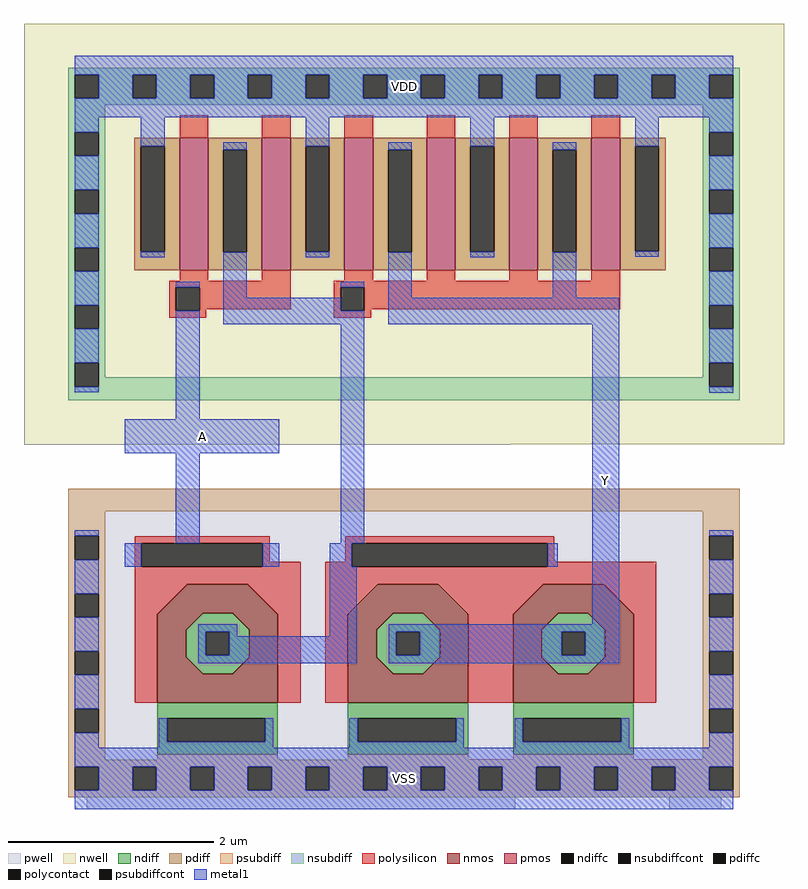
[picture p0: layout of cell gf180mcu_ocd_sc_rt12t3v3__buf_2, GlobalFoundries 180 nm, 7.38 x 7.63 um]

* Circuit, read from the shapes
.subckt gf180mcu_ocd_sc_rt12t3v3__buf_2 VDD VSS Y A
XM1 n1 A VSS VSS nfet_03v3 w=1.785u l=0.5364u
XM2 Y n1 VSS VSS nfet_03v3 w=1.785u l=0.5349u
XM3 Y n1 VSS VSS nfet_03v3 w=1.785u l=0.5308u
XM4 n1 A VDD VDD pfet_03v3 w=1.285u l=0.28u m=2
XM5 Y n1 VDD VDD pfet_03v3 w=1.285u l=0.28u m=4
.ends

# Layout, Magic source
magic
tech gf180mcuD
magscale 1 10
<< nwell >>
rect -122 649 1354 1466
rect -122 648 822 649
<< pwell >>
rect -36 -36 1268 563
rect 0 -60 832 -36
rect 1131 -60 1232 -36
<< nmos >>
tri 137 319 195 377 se
rect 195 321 313 377
rect 195 319 223 321
tri 223 319 225 321 nw
tri 283 319 285 321 ne
rect 285 319 313 321
tri 313 319 371 377 sw
rect 137 203 193 319
tri 193 289 223 319 nw
tri 285 289 315 319 ne
tri 193 203 225 235 sw
tri 283 203 315 235 se
rect 315 203 371 319
rect 137 147 371 203
tri 507 319 565 377 se
rect 565 321 683 377
rect 565 319 593 321
tri 593 319 595 321 nw
tri 653 319 655 321 ne
rect 655 319 683 321
tri 683 319 741 377 sw
rect 507 203 563 319
tri 563 289 593 319 nw
tri 655 289 685 319 ne
tri 563 203 595 235 sw
tri 653 203 685 235 se
rect 685 203 741 319
rect 507 147 741 203
tri 828 319 886 377 se
rect 886 321 1004 377
rect 886 319 914 321
tri 914 319 916 321 nw
tri 974 319 976 321 ne
rect 976 319 1004 321
tri 1004 319 1062 377 sw
rect 828 203 884 319
tri 884 289 914 319 nw
tri 976 289 1006 319 ne
tri 884 203 916 235 sw
tri 974 203 1006 235 se
rect 1006 203 1062 319
rect 828 147 1062 203
<< pmos >>
rect 180 987 236 1244
rect 340 987 396 1244
rect 500 987 556 1244
rect 660 987 716 1244
rect 820 987 876 1244
rect 980 987 1036 1244
<< ndiff >>
tri 223 319 225 321 se
rect 225 319 283 321
tri 283 319 285 321 sw
tri 193 289 223 319 se
rect 223 289 285 319
tri 285 289 315 319 sw
rect 193 285 315 289
rect 193 239 231 285
rect 277 239 315 285
rect 193 235 315 239
tri 193 203 225 235 ne
rect 225 203 283 235
tri 283 203 315 235 nw
tri 593 319 595 321 se
rect 595 319 653 321
tri 653 319 655 321 sw
tri 563 289 593 319 se
rect 593 289 655 319
tri 655 289 685 319 sw
rect 563 285 685 289
rect 563 239 601 285
rect 647 239 685 285
rect 563 235 685 239
tri 563 203 595 235 ne
rect 595 203 653 235
tri 653 203 685 235 nw
tri 914 319 916 321 se
rect 916 319 974 321
tri 974 319 976 321 sw
tri 884 289 914 319 se
rect 914 289 976 319
tri 976 289 1006 319 sw
rect 884 285 1006 289
rect 884 239 922 285
rect 968 239 1006 285
rect 884 235 1006 239
tri 884 203 916 235 ne
rect 916 203 974 235
tri 974 203 1006 235 nw
rect 137 117 371 147
rect 137 71 156 117
rect 347 71 371 117
rect 137 47 371 71
rect 507 117 741 147
rect 507 71 526 117
rect 717 71 741 117
rect 507 47 741 71
rect 828 117 1062 147
rect 828 71 847 117
rect 1038 71 1062 117
rect 828 47 1062 71
<< pdiff >>
rect 92 1228 180 1244
rect 92 1023 105 1228
rect 151 1023 180 1228
rect 92 987 180 1023
rect 236 1221 340 1244
rect 236 1022 265 1221
rect 311 1022 340 1221
rect 236 987 340 1022
rect 396 1228 500 1244
rect 396 1023 425 1228
rect 471 1023 500 1228
rect 396 987 500 1023
rect 556 1221 660 1244
rect 556 1022 585 1221
rect 631 1022 660 1221
rect 556 987 660 1022
rect 716 1228 820 1244
rect 716 1023 745 1228
rect 791 1023 820 1228
rect 716 987 820 1023
rect 876 1221 980 1244
rect 876 1022 905 1221
rect 951 1022 980 1221
rect 876 987 980 1022
rect 1036 1228 1124 1244
rect 1036 1024 1065 1228
rect 1111 1024 1124 1228
rect 1036 987 1124 1024
<< ndiffc >>
rect 231 239 277 285
rect 601 239 647 285
rect 922 239 968 285
rect 156 71 347 117
rect 526 71 717 117
rect 847 71 1038 117
<< pdiffc >>
rect 105 1023 151 1228
rect 265 1022 311 1221
rect 425 1023 471 1228
rect 585 1022 631 1221
rect 745 1023 791 1228
rect 905 1022 951 1221
rect 1065 1024 1111 1228
<< psubdiff >>
rect -36 519 1268 563
rect -36 471 36 519
rect -36 425 -23 471
rect 23 425 36 471
rect 1196 471 1268 519
rect -36 359 36 425
rect -36 313 -23 359
rect 23 313 36 359
rect -36 247 36 313
rect -36 201 -23 247
rect 23 201 36 247
rect -36 135 36 201
rect 1196 425 1209 471
rect 1255 425 1268 471
rect 1196 359 1268 425
rect 1196 313 1209 359
rect 1255 313 1268 359
rect 1196 247 1268 313
rect 1196 201 1209 247
rect 1255 201 1268 247
rect -36 89 -23 135
rect 23 89 36 135
rect -36 36 36 89
rect 137 36 371 47
rect 507 37 741 47
rect 828 37 1062 47
rect 1196 135 1268 201
rect 1196 89 1209 135
rect 1255 89 1268 135
rect 1196 37 1268 89
rect 507 36 1268 37
rect -36 23 1268 36
rect -36 -23 -23 23
rect 23 -23 89 23
rect 135 -23 201 23
rect 247 -23 313 23
rect 359 -23 425 23
rect 471 -23 537 23
rect 583 -23 649 23
rect 695 -23 761 23
rect 807 -23 873 23
rect 919 -23 985 23
rect 1031 -23 1097 23
rect 1143 -23 1209 23
rect 1255 -23 1268 23
rect -36 -36 1268 -23
<< nsubdiff >>
rect -36 1367 1268 1380
rect -36 1321 -23 1367
rect 23 1321 89 1367
rect 135 1321 201 1367
rect 247 1321 313 1367
rect 359 1321 425 1367
rect 471 1321 537 1367
rect 583 1321 649 1367
rect 695 1321 761 1367
rect 807 1321 873 1367
rect 919 1321 985 1367
rect 1031 1321 1097 1367
rect 1143 1321 1209 1367
rect 1255 1321 1268 1367
rect -36 1308 1268 1321
rect -36 1255 36 1308
rect -36 1209 -23 1255
rect 23 1209 36 1255
rect 1196 1255 1268 1308
rect -36 1143 36 1209
rect -36 1097 -23 1143
rect 23 1097 36 1143
rect -36 1031 36 1097
rect -36 985 -23 1031
rect 23 985 36 1031
rect 1196 1209 1209 1255
rect 1255 1209 1268 1255
rect 1196 1143 1268 1209
rect 1196 1097 1209 1143
rect 1255 1097 1268 1143
rect 1196 1031 1268 1097
rect -36 919 36 985
rect -36 873 -23 919
rect 23 873 36 919
rect 1196 985 1209 1031
rect 1255 985 1268 1031
rect 1196 919 1268 985
rect -36 807 36 873
rect -36 761 -23 807
rect 23 779 36 807
rect 1196 873 1209 919
rect 1255 873 1268 919
rect 1196 807 1268 873
rect 1196 779 1209 807
rect 23 761 1209 779
rect 1255 761 1268 807
rect -36 735 1268 761
<< psubdiffcont >>
rect -23 425 23 471
rect -23 313 23 359
rect -23 201 23 247
rect 1209 425 1255 471
rect 1209 313 1255 359
rect 1209 201 1255 247
rect -23 89 23 135
rect 1209 89 1255 135
rect -23 -23 23 23
rect 89 -23 135 23
rect 201 -23 247 23
rect 313 -23 359 23
rect 425 -23 471 23
rect 537 -23 583 23
rect 649 -23 695 23
rect 761 -23 807 23
rect 873 -23 919 23
rect 985 -23 1031 23
rect 1097 -23 1143 23
rect 1209 -23 1255 23
<< nsubdiffcont >>
rect -23 1321 23 1367
rect 89 1321 135 1367
rect 201 1321 247 1367
rect 313 1321 359 1367
rect 425 1321 471 1367
rect 537 1321 583 1367
rect 649 1321 695 1367
rect 761 1321 807 1367
rect 873 1321 919 1367
rect 985 1321 1031 1367
rect 1097 1321 1143 1367
rect 1209 1321 1255 1367
rect -23 1209 23 1255
rect -23 1097 23 1143
rect -23 985 23 1031
rect 1209 1209 1255 1255
rect 1209 1097 1255 1143
rect -23 873 23 919
rect 1209 985 1255 1031
rect -23 761 23 807
rect 1209 873 1255 919
rect 1209 761 1255 807
<< polysilicon >>
rect 180 1244 236 1288
rect 340 1244 396 1288
rect 500 1244 556 1288
rect 660 1244 716 1288
rect 820 1244 876 1288
rect 980 1244 1036 1288
rect 180 967 236 987
rect 340 967 396 987
rect 500 967 556 987
rect 660 967 716 987
rect 820 967 876 987
rect 980 967 1036 987
rect 160 954 396 967
rect 160 908 173 954
rect 219 911 396 954
rect 480 954 1036 967
rect 219 908 232 911
rect 160 895 232 908
rect 480 908 493 954
rect 539 911 1036 954
rect 539 908 552 911
rect 480 895 552 908
rect 93 457 355 470
rect 93 411 106 457
rect 342 421 355 457
rect 502 457 908 470
rect 502 421 515 457
rect 342 411 415 421
rect 93 377 415 411
rect 93 147 137 377
tri 137 319 195 377 nw
tri 313 319 371 377 ne
rect 371 147 415 377
rect 463 411 515 421
rect 895 421 908 457
rect 895 411 1106 421
rect 463 377 1106 411
rect 463 147 507 377
tri 507 319 565 377 nw
tri 683 319 741 377 ne
rect 741 147 828 377
tri 828 319 886 377 nw
tri 1004 319 1062 377 ne
rect 1062 147 1106 377
<< polycontact >>
rect 173 908 219 954
rect 493 908 539 954
rect 106 411 342 457
rect 515 411 895 457
<< metal1 >>
rect -23 1367 1255 1404
rect 23 1321 89 1367
rect 135 1321 201 1367
rect 247 1321 313 1367
rect 359 1321 425 1367
rect 471 1321 537 1367
rect 583 1321 649 1367
rect 695 1321 761 1367
rect 807 1321 873 1367
rect 919 1321 985 1367
rect 1031 1321 1097 1367
rect 1143 1321 1209 1367
rect -23 1284 1255 1321
rect -23 1255 23 1284
rect -23 1143 23 1209
rect -23 1031 23 1097
rect 105 1228 151 1284
rect 105 1012 151 1023
rect 265 1221 311 1236
rect -23 919 23 985
rect -23 807 23 873
rect -23 750 23 761
rect 173 954 219 965
rect 173 698 219 908
rect 265 934 311 1022
rect 425 1228 471 1284
rect 425 1012 471 1023
rect 585 1221 631 1236
rect 493 954 539 965
rect 265 908 493 934
rect 265 882 539 908
rect 585 934 631 1022
rect 745 1228 791 1284
rect 745 1012 791 1023
rect 905 1221 951 1236
rect 905 934 951 1022
rect 1065 1228 1111 1284
rect 1065 1013 1111 1024
rect 1209 1255 1255 1284
rect 1209 1143 1255 1209
rect 1209 1031 1255 1097
rect 585 882 1034 934
rect 74 632 374 698
rect -23 471 23 482
rect 173 457 219 632
rect 493 457 539 882
rect -23 359 23 425
rect 74 411 106 457
rect 342 411 374 457
rect 472 411 515 457
rect 895 411 915 457
rect -23 247 23 313
rect 216 285 292 300
rect 216 239 231 285
rect 277 276 292 285
rect 472 276 524 411
rect 982 300 1034 882
rect 1209 919 1255 985
rect 1209 807 1255 873
rect 1209 749 1255 761
rect 277 239 524 276
rect 216 224 524 239
rect 586 285 1034 300
rect 586 239 601 285
rect 647 239 922 285
rect 968 239 1034 285
rect 586 224 1034 239
rect 1209 471 1255 482
rect 1209 359 1255 425
rect 1209 247 1255 313
rect -23 135 23 201
rect 1209 135 1255 201
rect -23 60 23 89
rect 140 71 156 117
rect 347 71 362 117
rect 140 60 362 71
rect 510 71 526 117
rect 717 71 732 117
rect 510 60 732 71
rect 831 71 847 117
rect 1038 71 1053 117
rect 831 60 1053 71
rect 1209 60 1255 89
rect -23 23 1255 60
rect 23 -23 89 23
rect 135 -23 201 23
rect 247 -23 313 23
rect 359 -23 425 23
rect 471 -23 537 23
rect 583 -23 649 23
rect 695 -23 761 23
rect 807 -23 873 23
rect 919 -23 985 23
rect 1031 -23 1097 23
rect 1143 -23 1209 23
rect -23 -60 1255 -23
<< labels >>
flabel metal1 s 0 -60 1232 60 0 FreeSans 400 0 0 0 VSS
port 4 nsew ground bidirectional abutment
flabel metal1 s 982 224 1034 934 0 FreeSans 320 0 0 0 Y
port 8 nsew
flabel metal1 s 0 1284 1232 1404 0 FreeSans 400 0 0 0 VDD
port 1 nsew power bidirectional abutment
flabel metal1 s 74 632 374 698 0 FreeSans 320 0 0 0 A
port 10 nsew
<< properties >>
string FIXED_BBOX 0 0 1232 1344
<< end >>
